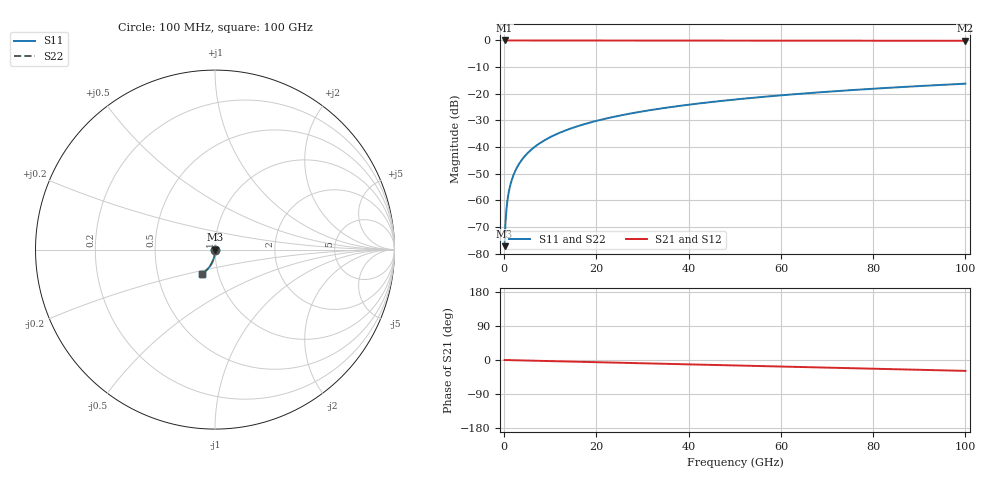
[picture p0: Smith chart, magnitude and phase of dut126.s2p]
! Touchstone file exported from HFSS 2026.1.0
!  File:  C:/ffzhzh/LocalFiles/Ansys_Project_Files/temp_train_TSV_126_1783506197_31944.aedt
!  Generated:  06:24:34 PM Jul  8, 2026
!  Design:  TSV
!  Project:  temp_train_TSV_126_1783506197_31944
! Variables:
!  h_bsmrdl = 2um
!  h_ox = 20um
!  h_rdl = 5um
!  h_sub = 53.43um
!  h_tmrdl = 5um
!  h_tsv = 53.43um
!  h_via = 3um
!  l_bsmrdl = 300um
!  l_sub = 428.42um
!  l_tmrdl = 200um
!  m_sub = 200um
!  pitch = 42.94um
!  r_tsv = 14.21um
!  s_tmrdl = 10um
!  w_bsmrdl = 18um
!  w_sub = 500um
!  w_tmrdl = 12um
!  x_tsv_center1 = 206um
!  x_tsv_center2 = 524um
!  x_tsv_center3 = 736um
!  x_tsv_center4 = 1054um
!  x_tsv_center5 = 1266um
!  x_tsv_center6 = 1584um
# GHz S MA R 50.000000
! Terminal data exported
! Port[1] = TSV1_1_T1
! Port[2] = TSV1_1_T2
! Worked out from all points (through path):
!   1000 points, 100 MHz to 100 GHz, reference 50 ohm
!   highest |S21| = 0.00 dB at 100 MHz (marker M1); lowest = -0.1 dB at 100 GHz (marker M2)
!   group delay of S21, straight-line fit = 797 fs
!   lowest |S11| = -77.2 dB at 100 MHz (marker M3), VSWR 1.00, Z = 50 - j0.0124 ohm
!   |S11| at or under -10 dB: start of sweep to end of sweep
!   |S22| runs from -77.2 to -16.2 dB; largest |S21 - S12| = 2.1e-15
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0.1  0.0001386 -63.6  0.9999 -0.0  0.9999 -0.0  0.0001386 -63.6
! Gamma 0 0 0 0
! Port Impedance 50 0 50 0
0.3  0.0003961 -77.1  0.9999 -0.1  0.9999 -0.1  0.0003961 -77.1
0.7  0.0009771 -81.5  0.9999 -0.2  0.9999 -0.2  0.0009771 -81.5
0.8  0.001127 -82.2  0.9998 -0.2  0.9998 -0.2  0.001127 -82.2
1  0.001429 -83.2  0.9998 -0.3  0.9998 -0.3  0.001429 -83.2
1.3  0.001882 -84.3  0.9998 -0.4  0.9998 -0.4  0.001882 -84.3
1.7  0.002489 -85.3  0.9998 -0.5  0.9998 -0.5  0.002489 -85.3
2.3  0.003403 -86.3  0.9997 -0.7  0.9997 -0.7  0.003403 -86.3
2.9  0.004323 -86.9  0.9997 -0.8  0.9997 -0.8  0.004323 -86.9
3.7  0.005557 -87.6  0.9996 -1.1  0.9996 -1.1  0.005557 -87.6
4.7  0.007107 -88.3  0.9996 -1.4  0.9996 -1.4  0.007107 -88.3
5.8  0.008817 -88.9  0.9995 -1.7  0.9995 -1.7  0.008817 -88.9
8.6  0.01318 -90.3  0.9994 -2.5  0.9994 -2.5  0.01318 -90.3
12.2  0.0188 -91.6  0.9992 -3.5  0.9992 -3.5  0.0188 -91.6
16.8  0.02601 -93.2  0.9989 -4.8  0.9989 -4.8  0.02601 -93.2
24.2  0.03762 -95.6  0.9984 -7.0  0.9984 -7.0  0.03762 -95.6
33.4  0.05204 -98.5  0.9976 -9.6  0.9976 -9.6  0.05204 -98.5
41.2  0.06424 -100.8  0.9968 -11.9  0.9968 -11.9  0.06424 -100.8
50.1  0.07813 -103.5  0.9956 -14.4  0.9956 -14.4  0.07813 -103.5
66.7  0.1039 -108.4  0.9931 -19.2  0.9931 -19.2  0.1039 -108.4
83.4  0.1295 -113.2  0.9898 -24.0  0.9898 -24.0  0.1295 -113.2
100  0.1546 -118.1  0.9859 -28.7  0.9859 -28.7  0.1546 -118.1
